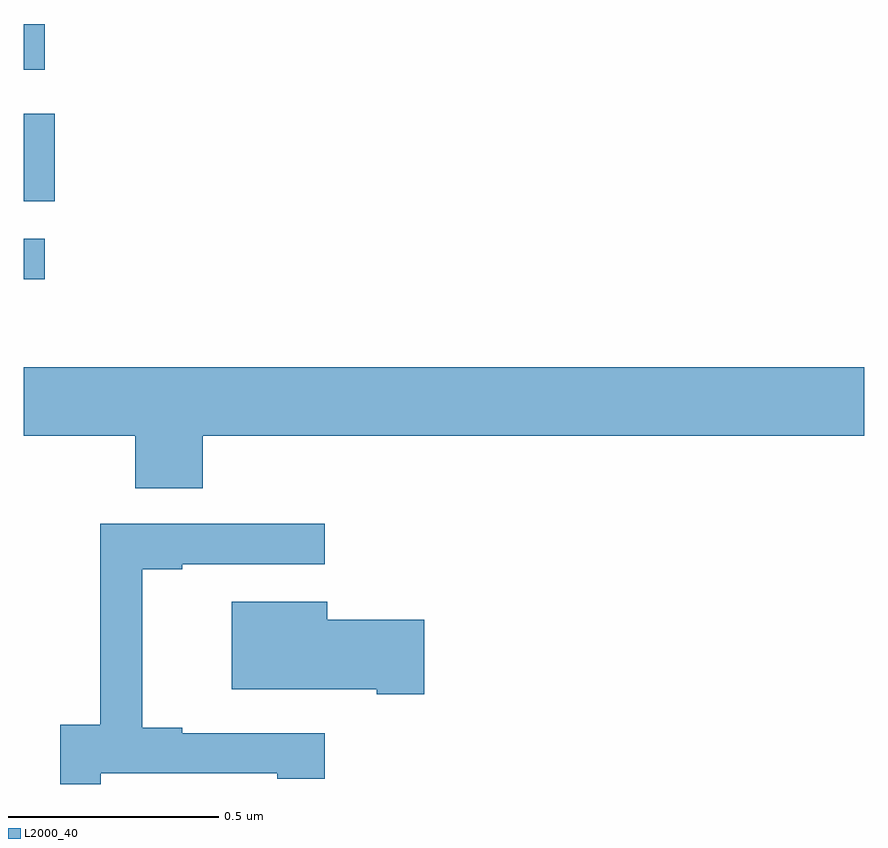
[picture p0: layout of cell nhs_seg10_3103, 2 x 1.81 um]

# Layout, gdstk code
import gdstk
lib = gdstk.Library(unit=1e-6, precision=1e-09)
def R(c, l, rs):  # rectangles x0, y0, x1, y1
    for r in rs: c.add(gdstk.rectangle(r[:2], r[2:], *l))
def P(c, l, *ps):  # polygons
    for p in ps: c.add(gdstk.Polygon(p, *l))
L2000_40 = (2000, 40)

nhs_seg10_3103 = lib.new_cell('nhs_seg10_3103')
R(nhs_seg10_3103, L2000_40, [(149,1288.701,149.05,1288.797), (149,1288.886,149.074,1289.095), (149,1289.199,149.05,1289.308)])
P(nhs_seg10_3103, L2000_40, [(149.426,1288.328),(151,1288.328),(151,1288.492),(149,1288.492),(149,1288.328),(149.266,1288.328),(149.266,1288.204),(149.426,1288.204)],
  [(149.184,1287.525),(149.603,1287.525),(149.603,1287.513),(149.716,1287.513),(149.716,1287.621),(149.377,1287.621),(149.377,1287.634),(149.282,1287.634),(149.282,1288.011),(149.377,1288.011),(149.377,1288.023),(149.716,1288.023),(149.716,1288.119),(149.182,1288.119),(149.182,1287.641),(149.087,1287.641),(149.087,1287.5),(149.184,1287.5)],
  [(149.953,1287.891),(149.722,1287.891),(149.722,1287.934),(149.495,1287.934),(149.495,1287.725),(149.84,1287.725),(149.84,1287.713),(149.953,1287.713)])

lib.write_gds('nhs_seg10_3103.gds')
